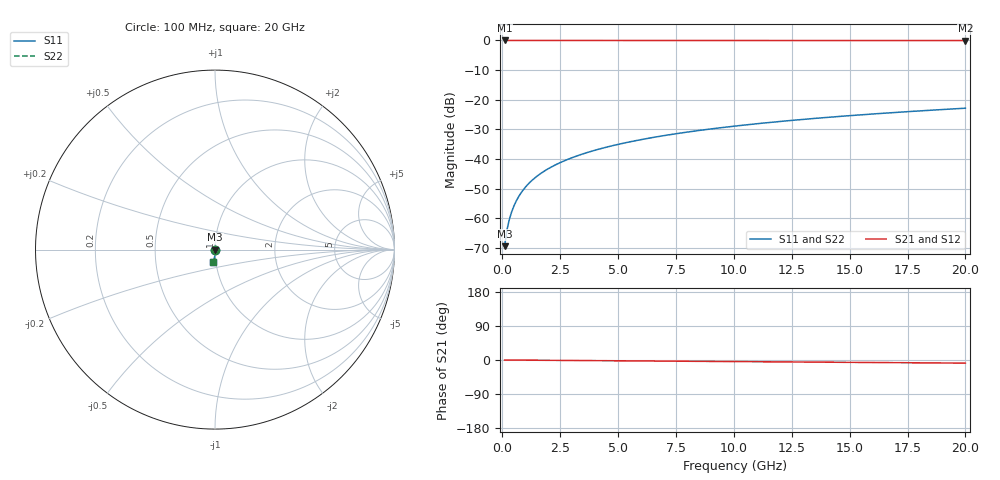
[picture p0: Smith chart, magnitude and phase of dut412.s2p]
! Touchstone file exported from HFSS 2026.1.0
!  File:  C:/ffzhzh/LocalFiles/Ansys_Project_Files/temp_train_TSV_412_1783020598_53980.aedt
!  Generated:  03:31:37 AM Jul  3, 2026
!  Design:  TSV
!  Project:  temp_train_TSV_412_1783020598_53980
! Variables:
!  h_bsmrdl = 2um
!  h_ox = 20um
!  h_rdl = 5um
!  h_sub = 77.04um
!  h_tmrdl = 5um
!  h_tsv = 77.04um
!  h_via = 3um
!  l_bsmrdl = 300um
!  l_sub = 418.2um
!  l_tmrdl = 200um
!  m_sub = 200um
!  pitch = 23.93um
!  r_tsv = 9.1um
!  s_tmrdl = 10um
!  w_bsmrdl = 18um
!  w_sub = 500um
!  w_tmrdl = 12um
!  x_tsv_center1 = 206um
!  x_tsv_center2 = 524um
!  x_tsv_center3 = 736um
!  x_tsv_center4 = 1054um
!  x_tsv_center5 = 1266um
!  x_tsv_center6 = 1584um
# GHz S MA R 50.000000
! Terminal data exported
! Port[1] = TSV1_1_T1
! Port[2] = TSV1_1_T2
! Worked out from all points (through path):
!   200 points, 100 MHz to 20 GHz, reference 50 ohm
!   highest |S21| = 0.00 dB at 100 MHz (marker M1); lowest = 0.0 dB at 20 GHz (marker M2)
!   group delay of S21, straight-line fit = 1.14 ps
!   lowest |S11| = -69.4 dB at 100 MHz (marker M3), VSWR 1.00, Z = 50 - j0.03 ohm
!   |S11| at or under -10 dB: start of sweep to end of sweep
!   |S22| runs from -69.4 to -22.9 dB; largest |S21 - S12| = 1.8e-15
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0.1  0.0003397 -62.1  0.9998 -0.0  0.9998 -0.0  0.0003397 -62.1
! Gamma 0 0 0 0
! Port Impedance 50 0 50 0
0.2  0.0006323 -73.5  0.9998 -0.1  0.9998 -0.1  0.0006323 -73.5
0.3  0.0009456 -77.3  0.9998 -0.1  0.9998 -0.1  0.0009456 -77.3
0.4  0.001272 -79.1  0.9998 -0.2  0.9998 -0.2  0.001272 -79.1
0.5  0.001609 -80.3  0.9997 -0.2  0.9997 -0.2  0.001609 -80.3
0.7  0.002302 -81.8  0.9997 -0.3  0.9997 -0.3  0.002302 -81.8
0.8  0.002655 -82.5  0.9996 -0.3  0.9996 -0.3  0.002655 -82.5
1  0.003364 -83.5  0.9996 -0.4  0.9996 -0.4  0.003364 -83.5
1.2  0.004077 -84.3  0.9995 -0.5  0.9995 -0.5  0.004077 -84.3
1.4  0.00479 -85.0  0.9995 -0.6  0.9995 -0.6  0.00479 -85.0
1.7  0.005859 -85.8  0.9995 -0.7  0.9995 -0.7  0.005859 -85.8
2  0.006929 -86.4  0.9994 -0.8  0.9994 -0.8  0.006929 -86.4
2.7  0.009425 -87.5  0.9993 -1.1  0.9993 -1.1  0.009425 -87.5
3.5  0.01229 -88.3  0.9992 -1.5  0.9992 -1.5  0.01229 -88.3
4.2  0.0148 -88.8  0.9991 -1.8  0.9991 -1.8  0.0148 -88.8
5  0.01768 -89.4  0.999 -2.1  0.999 -2.1  0.01768 -89.4
6.8  0.02419 -90.5  0.9987 -2.8  0.9987 -2.8  0.02419 -90.5
8.3  0.02964 -91.3  0.9985 -3.5  0.9985 -3.5  0.02964 -91.3
10.1  0.03617 -92.3  0.9981 -4.2  0.9981 -4.2  0.03617 -92.3
13.4  0.04815 -93.9  0.9975 -5.5  0.9975 -5.5  0.04815 -93.9
16.7  0.0601 -95.4  0.9966 -6.9  0.9966 -6.9  0.0601 -95.4
20  0.07203 -96.9  0.9957 -8.3  0.9957 -8.3  0.07203 -96.9
